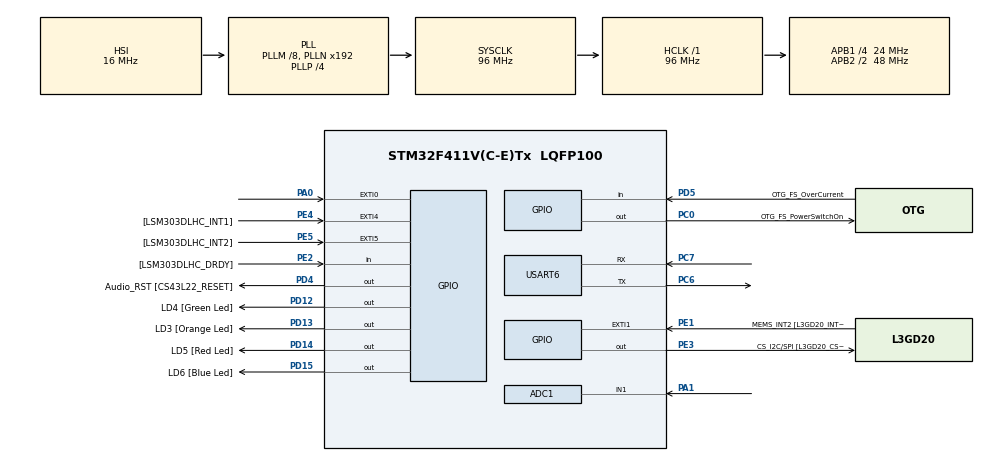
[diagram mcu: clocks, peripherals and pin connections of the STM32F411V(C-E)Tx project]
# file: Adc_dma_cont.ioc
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ADC1.Channel-0\#ChannelRegularConversion=ADC_CHANNEL_1
ADC1.ContinuousConvMode=ENABLE
ADC1.DMAContinuousRequests=ENABLE
ADC1.NbrOfConversionFlag=1
ADC1.Rank-0\#ChannelRegularConversion=1
ADC1.Resolution=ADC_RESOLUTION8b
ADC1.SamplingTime-0\#ChannelRegularConversion=ADC_SAMPLETIME_480CYCLES
ADC1.master=1
Dma.ADC1.0.Channel=DMA_CHANNEL_0
Dma.ADC1.0.Direction=DMA_PERIPH_TO_MEMORY
Dma.ADC1.0.FIFOMode=DMA_FIFOMODE_DISABLE
Dma.ADC1.0.Instance=DMA2_Stream0
Dma.ADC1.0.MemDataAlignment=DMA_MDATAALIGN_BYTE
Dma.ADC1.0.MemInc=DMA_MINC_ENABLE
Dma.ADC1.0.Mode=DMA_CIRCULAR
Dma.ADC1.0.PeriphDataAlignment=DMA_PDATAALIGN_BYTE
Dma.ADC1.0.PeriphInc=DMA_PINC_DISABLE
Dma.ADC1.0.Priority=DMA_PRIORITY_HIGH
Dma.Request0=ADC1
Mcu.Family=STM32F4
Mcu.Name=STM32F411V(C-E)Tx
Mcu.Package=LQFP100
NVIC.ADC_IRQn=true\:0\:0\:false
NVIC.DMA2_Stream0_IRQn=true\:0\:0\:false
NVIC.PriorityGroup=NVIC_PRIORITYGROUP_0
PA0-WKUP.GPIO_ModeDefaultEXTI=GPIO_MODE_EVT_RISING
PA0-WKUP.Signal=GPXTI0
PA1.Signal=ADCx_IN1
PA10.GPIO_Label=OTG_FS_ID
PA10.Signal=USB_OTG_FS_ID
PA11.GPIO_Label=OTG_FS_DM
PA11.Signal=USB_OTG_FS_DM
PA12.GPIO_Label=OTG_FS_DP
PA12.Signal=USB_OTG_FS_DP
PA13.GPIO_Label=SWDIO
PA13.Signal=SYS_JTMS-SWDIO
PA14.GPIO_Label=SWCLK
PA14.Signal=SYS_JTCK-SWCLK
PA4.GPIO_Label=I2S3_WS [CS43L22_LRCK]
PA4.GPIO_Mode=GPIO_MODE_AF_PP
PA4.GPIO_PuPd=GPIO_NOPULL
PA4.GPIO_Speed=GPIO_SPEED_LOW
PA4.Signal=I2S3_WS
PA5.GPIO_Label=SPI1_SCK [L3GD20_SC/SPC]
PA5.Signal=SPI1_SCK
PA6.GPIO_Label=SPI1_MISO [L3GD20_AS0/SDO]
PA6.Signal=SPI1_MISO
PA7.GPIO_Label=SPI1_MOSI [L3GD20_SDA/SDI/SDO]
PA7.Signal=SPI1_MOSI
PA9.GPIO_Label=VBUS_FS
PA9.Signal=USB_OTG_FS_VBUS
PB10.GPIO_Label=CLK_IN [MP45DT02_CLK]
PB10.Signal=I2S2_CK
PB12.Signal=I2S2_WS
PB3.GPIO_Label=SWO
PB3.Signal=SYS_JTDO-SWO
PB6.GPIO_Label=Audio_SCL [CS43L22_SCL]
PB6.GPIO_Mode=GPIO_MODE_AF_OD
PB6.GPIO_PuPd=GPIO_NOPULL
PB6.GPIO_Speed=GPIO_SPEED_LOW
PB6.Signal=I2C1_SCL
PB9.GPIO_Label=Audio_SDA [CS43L22_SDA]
PB9.GPIO_Mode=GPIO_MODE_AF_OD
PB9.GPIO_PuPd=GPIO_NOPULL
PB9.GPIO_Speed=GPIO_SPEED_LOW
PB9.Signal=I2C1_SDA
PC0.GPIO_Label=OTG_FS_PowerSwitchOn
PC0.Signal=GPIO_Output
PC10.GPIO_Label=I2S3_SCK [CS43L22_SCLK]
PC10.GPIO_Mode=GPIO_MODE_AF_PP
PC10.GPIO_PuPd=GPIO_NOPULL
PC10.GPIO_Speed=GPIO_SPEED_LOW
PC10.Signal=I2S3_CK
PC12.GPIO_Label=I2S3_SD [CS43L22_SDIN]
PC12.GPIO_Mode=GPIO_MODE_AF_PP
PC12.GPIO_PuPd=GPIO_NOPULL
PC12.GPIO_Speed=GPIO_SPEED_LOW
PC12.Signal=I2S3_SD
PC14-OSC32_IN.GPIO_Label=PC14-OSC32_IN
PC14-OSC32_IN.Signal=RCC_OSC32_IN
PC15-OSC32_OUT.GPIO_Label=PC15-OSC32_OUT
PC15-OSC32_OUT.Signal=RCC_OSC32_OUT
PC3.GPIO_Label=PDM_OUT [MP45DT02_DOUT]
PC3.Signal=I2S2_SD
PC6.Mode=Asynchronous
PC6.Signal=USART6_TX
PC7.Mode=Asynchronous
PC7.Signal=USART6_RX
PD12.GPIO_Label=LD4 [Green Led]
PD12.GPIO_PuPd=GPIO_NOPULL
PD12.GPIO_Speed=GPIO_SPEED_LOW
PD12.Signal=GPIO_Output
PD13.GPIO_Label=LD3 [Orange Led]
PD13.GPIO_PuPd=GPIO_NOPULL
PD13.GPIO_Speed=GPIO_SPEED_LOW
PD13.Signal=GPIO_Output
PD14.GPIO_Label=LD5 [Red Led]
PD14.GPIO_PuPd=GPIO_NOPULL
PD14.GPIO_Speed=GPIO_SPEED_LOW
PD14.Signal=GPIO_Output
PD15.GPIO_Label=LD6 [Blue Led]
PD15.GPIO_PuPd=GPIO_NOPULL
PD15.GPIO_Speed=GPIO_SPEED_LOW
PD15.Signal=GPIO_Output
PD4.GPIO_Label=Audio_RST [CS43L22_RESET]
PD4.Signal=GPIO_Output
PD5.GPIO_Label=OTG_FS_OverCurrent
PD5.Signal=GPIO_Input
PE1.GPIO_Label=MEMS_INT2 [L3GD20_INT2]
PE1.GPIO_ModeDefaultEXTI=GPIO_MODE_EVT_RISING
PE1.Signal=GPXTI1
PE2.GPIO_Label=[LSM303DLHC_DRDY]
PE2.Signal=GPIO_Input
PE3.GPIO_Label=CS_I2C/SPI [L3GD20_CS_I2C/SPI]
PE3.Signal=GPIO_Output
PE4.GPIO_Label=[LSM303DLHC_INT1]
PE4.GPIO_ModeDefaultEXTI=GPIO_MODE_EVT_RISING
PE4.Signal=GPXTI4
PE5.GPIO_Label=[LSM303DLHC_INT2]
PE5.GPIO_ModeDefaultEXTI=GPIO_MODE_EVT_RISING
PE5.Signal=GPXTI5
PH0\ -\ OSC_IN.GPIO_Label=PH0-OSC_IN
PH0\ -\ OSC_IN.Signal=RCC_OSC_IN
PH1\ -\ OSC_OUT.GPIO_Label=PH1-OSC_OUT
PH1\ -\ OSC_OUT.Signal=RCC_OSC_OUT
ProjectManager.HeapSize=0x400
ProjectManager.StackSize=0x200
ProjectManager.TargetToolchain=TrueSTUDIO
RCC.48MHZClocksFreq_Value=48000000
RCC.AHBFreq_Value=96000000
RCC.APB1CLKDivider=RCC_HCLK_DIV4
RCC.APB1Freq_Value=24000000
RCC.APB1TimFreq_Value=48000000
RCC.APB2CLKDivider=RCC_HCLK_DIV2
RCC.APB2Freq_Value=48000000
RCC.APB2TimFreq_Value=96000000
RCC.CortexFreq_Value=96000000
RCC.HCLKFreq_Value=96000000
RCC.HSE_VALUE=8000000
RCC.HSI_VALUE=16000000
RCC.LSE_VALUE=32768
RCC.PLLI2SM=5
RCC.PLLI2SN=200
RCC.PLLM=8
RCC.PLLP=RCC_PLLP_DIV4
RCC.PLLQ=8
RCC.SYSCLKFreq_VALUE=96000000
RCC.SYSCLKSource=RCC_SYSCLKSOURCE_PLLCLK
RCC.VCOOutputFreq_Value=384000000
SH.ADCx_IN1.0=ADC1_IN1,IN1
TIM2.Prescaler=48
VP_TIM2_VS_ClockSourceINT.Mode=Internal
board=STM32F411E-DISCO

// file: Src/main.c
/**
  ******************************************************************************
  * File Name          : main.c
  * Description        : Main program body
  ******************************************************************************
  *
  * COPYRIGHT(c) 2016 STMicroelectronics
  *
  * Redistribution and use in source and binary forms, with or without modification,
  * are permitted provided that the following conditions are met:
  *   1. Redistributions of source code must retain the above copyright notice,
  *      this list of conditions and the following disclaimer.
  *   2. Redistributions in binary form must reproduce the above copyright notice,
  *      this list of conditions and the following disclaimer in the documentation
  *      and/or other materials provided with the distribution.
  *   3. Neither the name of STMicroelectronics nor the names of its contributors
  *      may be used to endorse or promote products derived from this software
  *      without specific prior written permission.
  *
  * THIS SOFTWARE IS PROVIDED BY THE COPYRIGHT HOLDERS AND CONTRIBUTORS "AS IS"
  * AND ANY EXPRESS OR IMPLIED WARRANTIES, INCLUDING, BUT NOT LIMITED TO, THE
  * IMPLIED WARRANTIES OF MERCHANTABILITY AND FITNESS FOR A PARTICULAR PURPOSE ARE
  * DISCLAIMED. IN NO EVENT SHALL THE COPYRIGHT HOLDER OR CONTRIBUTORS BE LIABLE
  * FOR ANY DIRECT, INDIRECT, INCIDENTAL, SPECIAL, EXEMPLARY, OR CONSEQUENTIAL
  * DAMAGES (INCLUDING, BUT NOT LIMITED TO, PROCUREMENT OF SUBSTITUTE GOODS OR
  * SERVICES; LOSS OF USE, DATA, OR PROFITS; OR BUSINESS INTERRUPTION) HOWEVER
  * CAUSED AND ON ANY THEORY OF LIABILITY, WHETHER IN CONTRACT, STRICT LIABILITY,
  * OR TORT (INCLUDING NEGLIGENCE OR OTHERWISE) ARISING IN ANY WAY OUT OF THE USE
  * OF THIS SOFTWARE, EVEN IF ADVISED OF THE POSSIBILITY OF SUCH DAMAGE.
  *
  ******************************************************************************
  */
#include "stm32f4xx_hal.h"

/* USER CODE BEGIN Includes */
#include <string.h>
#include <stdio.h>
/* USER CODE END Includes */

ADC_HandleTypeDef hadc1;
DMA_HandleTypeDef hdma_adc1;

TIM_HandleTypeDef htim2;

UART_HandleTypeDef huart6;

/* USER CODE BEGIN PV */
/* Private variables ---------------------------------------------------------*/
#define ADC_BUFFER_LENGTH 300
uint32_t ADCBuffer[ADC_BUFFER_LENGTH]={0};
/* USER CODE END PV */

void SystemClock_Config(void);
static void MX_GPIO_Init(void);
static void MX_DMA_Init(void);
static void MX_ADC1_Init(void);
static void MX_TIM2_Init(void);
static void MX_USART6_UART_Init(void);

/* USER CODE BEGIN PFP */
/* Private function prototypes -----------------------------------------------*/

/* USER CODE END PFP */

/* USER CODE BEGIN 0 */
void Uart_transmit(uint32_t dma_buffer[])
{
	int i = 0;
	int count = 0;
	char buffer[50] = {"Empty.."};
	uint32_t achtbit = 255;
	for(i=0; i<ADC_BUFFER_LENGTH;i++)
	{
		  if(count != 11)
		  {

			  dma_buffer[i] &= achtbit;
			  sprintf(buffer,"slot: %3d   ",(int) dma_buffer[i]);
			  HAL_UART_Transmit(&huart6,(uint8_t*) buffer,strlen(buffer),HAL_MAX_DELAY);
			  count++;
		  }
		  else
		  {
				sprintf(buffer,"\r\n");
				HAL_UART_Transmit(&huart6,(uint8_t*) buffer,strlen(buffer),HAL_MAX_DELAY);
				count = 0;
		  }
	}
	HAL_UART_Transmit(&huart6,"\r\n",strlen("\r\n"),HAL_MAX_DELAY);
}
//void HAL_ADC_ConvCpltCallback(ADC_HandleTypeDef* AdcHandle)
//{
//	HAL_GPIO_TogglePin(GPIOD,LD6_Pin);
//}
/* USER CODE END 0 */

int main(void)
{

  /* USER CODE BEGIN 1 */
	int count = 0;
	//uint32_t dma_buffer[100] = {0};
	//uint32_t count = 0;
	//int ADCValue = 0;
	//int MeasurementNumber = 0;
  /* USER CODE END 1 */

  /* MCU Configuration----------------------------------------------------------*/

  /* Reset of all peripherals, Initializes the Flash interface and the Systick. */
  HAL_Init();

  /* Configure the system clock */
  SystemClock_Config();

  /* Initialize all configured peripherals */
  MX_GPIO_Init();
  MX_DMA_Init();
  MX_ADC1_Init();
  MX_TIM2_Init();
  MX_USART6_UART_Init();

  /* Infinite loop */
  while (1)
  {

  /* USER CODE BEGIN 3 */
	  HAL_ADC_Start(&hadc1);
	  HAL_ADC_Start_DMA(&hadc1, &ADCBuffer[0], ADC_BUFFER_LENGTH*4);
	  if(count == 1)HAL_GPIO_TogglePin(GPIOD,GPIO_PIN_15); count = 0;
	  count++;
	  if(HAL_GPIO_ReadPin(GPIOA,GPIO_PIN_0))
	  {
		  //uint32_t count = __HAL_TIM_GetCounter(&htim2);
		  //HAL_TIM_Base_Start(&htim2);
		  HAL_Delay(500);
		  HAL_GPIO_TogglePin(GPIOD,GPIO_PIN_13);
		  Uart_transmit(ADCBuffer);
		  //ADCBuffer[ADC_BUFFER_LENGTH -1]=0;
	  }
  }
  /* USER CODE END 3 */

}

/** System Clock Configuration
*/
void SystemClock_Config(void)
{

  RCC_OscInitTypeDef RCC_OscInitStruct;
  RCC_ClkInitTypeDef RCC_ClkInitStruct;

  __PWR_CLK_ENABLE();

  __HAL_PWR_VOLTAGESCALING_CONFIG(PWR_REGULATOR_VOLTAGE_SCALE1);

  RCC_OscInitStruct.OscillatorType = RCC_OSCILLATORTYPE_HSI;
  RCC_OscInitStruct.HSIState = RCC_HSI_ON;
  RCC_OscInitStruct.HSICalibrationValue = 16;
  RCC_OscInitStruct.PLL.PLLState = RCC_PLL_ON;
  RCC_OscInitStruct.PLL.PLLSource = RCC_PLLSOURCE_HSI;
  RCC_OscInitStruct.PLL.PLLM = 8;
  RCC_OscInitStruct.PLL.PLLN = 192;
  RCC_OscInitStruct.PLL.PLLP = RCC_PLLP_DIV4;
  RCC_OscInitStruct.PLL.PLLQ = 8;
  HAL_RCC_OscConfig(&RCC_OscInitStruct);

  RCC_ClkInitStruct.ClockType = RCC_CLOCKTYPE_HCLK|RCC_CLOCKTYPE_SYSCLK
                              |RCC_CLOCKTYPE_PCLK1|RCC_CLOCKTYPE_PCLK2;
  RCC_ClkInitStruct.SYSCLKSource = RCC_SYSCLKSOURCE_PLLCLK;
  RCC_ClkInitStruct.AHBCLKDivider = RCC_SYSCLK_DIV1;
  RCC_ClkInitStruct.APB1CLKDivider = RCC_HCLK_DIV4;
  RCC_ClkInitStruct.APB2CLKDivider = RCC_HCLK_DIV2;
  HAL_RCC_ClockConfig(&RCC_ClkInitStruct, FLASH_LATENCY_3);

  HAL_SYSTICK_Config(HAL_RCC_GetHCLKFreq()/1000);

  HAL_SYSTICK_CLKSourceConfig(SYSTICK_CLKSOURCE_HCLK);

  /* SysTick_IRQn interrupt configuration */
  HAL_NVIC_SetPriority(SysTick_IRQn, 0, 0);
}

/* ADC1 init function */
void MX_ADC1_Init(void)
{

  ADC_ChannelConfTypeDef sConfig;

    /**Configure the global features of the ADC (Clock, Resolution, Data Alignment and number of conversion)
    */
  hadc1.Instance = ADC1;
  hadc1.Init.ClockPrescaler = ADC_CLOCKPRESCALER_PCLK_DIV2;
  hadc1.Init.Resolution = ADC_RESOLUTION8b;
  hadc1.Init.ScanConvMode = DISABLE;
  hadc1.Init.ContinuousConvMode = ENABLE;
  hadc1.Init.DiscontinuousConvMode = DISABLE;
  hadc1.Init.ExternalTrigConvEdge = ADC_EXTERNALTRIGCONVEDGE_NONE;
  hadc1.Init.DataAlign = ADC_DATAALIGN_RIGHT;
  hadc1.Init.NbrOfConversion = 1;
  hadc1.Init.DMAContinuousRequests = ENABLE;
  hadc1.Init.EOCSelection = EOC_SINGLE_CONV;
  HAL_ADC_Init(&hadc1);

    /**Configure for the selected ADC regular channel its corresponding rank in the sequencer and its sample time.
    */
  sConfig.Channel = ADC_CHANNEL_1;
  sConfig.Rank = 1;
  sConfig.SamplingTime = ADC_SAMPLETIME_480CYCLES;
  HAL_ADC_ConfigChannel(&hadc1, &sConfig);

}

/* TIM2 init function */
void MX_TIM2_Init(void)
{

  TIM_ClockConfigTypeDef sClockSourceConfig;
  TIM_MasterConfigTypeDef sMasterConfig;

  htim2.Instance = TIM2;
  htim2.Init.Prescaler = 48;
  htim2.Init.CounterMode = TIM_COUNTERMODE_UP;
  htim2.Init.Period = 0;
  htim2.Init.ClockDivision = TIM_CLOCKDIVISION_DIV1;
  HAL_TIM_Base_Init(&htim2);

  sClockSourceConfig.ClockSource = TIM_CLOCKSOURCE_INTERNAL;
  HAL_TIM_ConfigClockSource(&htim2, &sClockSourceConfig);

  sMasterConfig.MasterOutputTrigger = TIM_TRGO_RESET;
  sMasterConfig.MasterSlaveMode = TIM_MASTERSLAVEMODE_DISABLE;
  HAL_TIMEx_MasterConfigSynchronization(&htim2, &sMasterConfig);

}

/* USART6 init function */
void MX_USART6_UART_Init(void)
{

  huart6.Instance = USART6;
  huart6.Init.BaudRate = 115200;
  huart6.Init.WordLength = UART_WORDLENGTH_8B;
  huart6.Init.StopBits = UART_STOPBITS_1;
  huart6.Init.Parity = UART_PARITY_NONE;
  huart6.Init.Mode = UART_MODE_TX_RX;
  huart6.Init.HwFlowCtl = UART_HWCONTROL_NONE;
  huart6.Init.OverSampling = UART_OVERSAMPLING_16;
  HAL_UART_Init(&huart6);

}

void MX_DMA_Init(void)
{
  /* DMA controller clock enable */
  __DMA2_CLK_ENABLE();

  /* DMA interrupt init */
  HAL_NVIC_SetPriority(DMA2_Stream0_IRQn, 0, 0);
  HAL_NVIC_EnableIRQ(DMA2_Stream0_IRQn);

}

/** Configure pins as
        * Analog
        * Input
        * Output
        * EVENT_OUT
        * EXTI
     PC3   ------> I2S2_SD
     PA4   ------> I2S3_WS
     PA5   ------> SPI1_SCK
     PA6   ------> SPI1_MISO
     PA7   ------> SPI1_MOSI
     PB10   ------> I2S2_CK
     PB12   ------> I2S2_WS
     PA9   ------> USB_OTG_FS_VBUS
     PA10   ------> USB_OTG_FS_ID
     PA11   ------> USB_OTG_FS_DM
     PA12   ------> USB_OTG_FS_DP
     PC10   ------> I2S3_CK
     PC12   ------> I2S3_SD
     PB6   ------> I2C1_SCL
     PB9   ------> I2C1_SDA
*/
void MX_GPIO_Init(void)
{

  GPIO_InitTypeDef GPIO_InitStruct;

  /* GPIO Ports Clock Enable */
  __GPIOE_CLK_ENABLE();
  __GPIOC_CLK_ENABLE();
  __GPIOH_CLK_ENABLE();
  __GPIOA_CLK_ENABLE();
  __GPIOB_CLK_ENABLE();
  __GPIOD_CLK_ENABLE();

  /*Configure GPIO pin : PE2 */
  GPIO_InitStruct.Pin = GPIO_PIN_2;
  GPIO_InitStruct.Mode = GPIO_MODE_INPUT;
  GPIO_InitStruct.Pull = GPIO_NOPULL;
  HAL_GPIO_Init(GPIOE, &GPIO_InitStruct);

  /*Configure GPIO pin : CS_I2C_SPI_Pin */
  GPIO_InitStruct.Pin = CS_I2C_SPI_Pin;
  GPIO_InitStruct.Mode = GPIO_MODE_OUTPUT_PP;
  GPIO_InitStruct.Pull = GPIO_NOPULL;
  GPIO_InitStruct.Speed = GPIO_SPEED_LOW;
  HAL_GPIO_Init(CS_I2C_SPI_GPIO_Port, &GPIO_InitStruct);

  /*Configure GPIO pins : PE4 PE5 MEMS_INT2_Pin */
  GPIO_InitStruct.Pin = GPIO_PIN_4|GPIO_PIN_5|MEMS_INT2_Pin;
  GPIO_InitStruct.Mode = GPIO_MODE_EVT_RISING;
  GPIO_InitStruct.Pull = GPIO_NOPULL;
  HAL_GPIO_Init(GPIOE, &GPIO_InitStruct);

  /*Configure GPIO pin : OTG_FS_PowerSwitchOn_Pin */
  GPIO_InitStruct.Pin = OTG_FS_PowerSwitchOn_Pin;
  GPIO_InitStruct.Mode = GPIO_MODE_OUTPUT_PP;
  GPIO_InitStruct.Pull = GPIO_NOPULL;
  GPIO_InitStruct.Speed = GPIO_SPEED_LOW;
  HAL_GPIO_Init(OTG_FS_PowerSwitchOn_GPIO_Port, &GPIO_InitStruct);

  /*Configure GPIO pin : PDM_OUT_Pin */
  GPIO_InitStruct.Pin = PDM_OUT_Pin;
  GPIO_InitStruct.Mode = GPIO_MODE_AF_PP;
  GPIO_InitStruct.Pull = GPIO_NOPULL;
  GPIO_InitStruct.Speed = GPIO_SPEED_LOW;
  GPIO_InitStruct.Alternate = GPIO_AF5_SPI2;
  HAL_GPIO_Init(PDM_OUT_GPIO_Port, &GPIO_InitStruct);

  /*Configure GPIO pin : PA0 */
  GPIO_InitStruct.Pin = GPIO_PIN_0;
  GPIO_InitStruct.Mode = GPIO_MODE_EVT_RISING;
  GPIO_InitStruct.Pull = GPIO_NOPULL;
  HAL_GPIO_Init(GPIOA, &GPIO_InitStruct);

  /*Configure GPIO pin : PA4 */
  GPIO_InitStruct.Pin = GPIO_PIN_4;
  GPIO_InitStruct.Mode = GPIO_MODE_AF_PP;
  GPIO_InitStruct.Pull = GPIO_NOPULL;
  GPIO_InitStruct.Speed = GPIO_SPEED_LOW;
  GPIO_InitStruct.Alternate = GPIO_AF6_SPI3;
  HAL_GPIO_Init(GPIOA, &GPIO_InitStruct);

  /*Configure GPIO pins : PA5 PA6 PA7 */
  GPIO_InitStruct.Pin = GPIO_PIN_5|GPIO_PIN_6|GPIO_PIN_7;
  GPIO_InitStruct.Mode = GPIO_MODE_AF_PP;
  GPIO_InitStruct.Pull = GPIO_NOPULL;
  GPIO_InitStruct.Speed = GPIO_SPEED_HIGH;
  GPIO_InitStruct.Alternate = GPIO_AF5_SPI1;
  HAL_GPIO_Init(GPIOA, &GPIO_InitStruct);

  /*Configure GPIO pins : CLK_IN_Pin PB12 */
  GPIO_InitStruct.Pin = CLK_IN_Pin|GPIO_PIN_12;
  GPIO_InitStruct.Mode = GPIO_MODE_AF_PP;
  GPIO_InitStruct.Pull = GPIO_NOPULL;
  GPIO_InitStruct.Speed = GPIO_SPEED_LOW;
  GPIO_InitStruct.Alternate = GPIO_AF5_SPI2;
  HAL_GPIO_Init(GPIOB, &GPIO_InitStruct);

  /*Configure GPIO pins : LD4_Pin LD3_Pin LD5_Pin LD6_Pin
                           Audio_RST_Pin */
  GPIO_InitStruct.Pin = LD4_Pin|LD3_Pin|LD5_Pin|LD6_Pin
                          |Audio_RST_Pin;
  GPIO_InitStruct.Mode = GPIO_MODE_OUTPUT_PP;
  GPIO_InitStruct.Pull = GPIO_NOPULL;
  GPIO_InitStruct.Speed = GPIO_SPEED_LOW;
  HAL_GPIO_Init(GPIOD, &GPIO_InitStruct);

  /*Configure GPIO pin : VBUS_FS_Pin */
  GPIO_InitStruct.Pin = VBUS_FS_Pin;
  GPIO_InitStruct.Mode = GPIO_MODE_INPUT;
  GPIO_InitStruct.Pull = GPIO_NOPULL;
  HAL_GPIO_Init(VBUS_FS_GPIO_Port, &GPIO_InitStruct);

  /*Configure GPIO pins : OTG_FS_ID_Pin OTG_FS_DM_Pin OTG_FS_DP_Pin */
  GPIO_InitStruct.Pin = OTG_FS_ID_Pin|OTG_FS_DM_Pin|OTG_FS_DP_Pin;
  GPIO_InitStruct.Mode = GPIO_MODE_AF_PP;
  GPIO_InitStruct.Pull = GPIO_NOPULL;
  GPIO_InitStruct.Speed = GPIO_SPEED_HIGH;
  GPIO_InitStruct.Alternate = GPIO_AF10_OTG_FS;
  HAL_GPIO_Init(GPIOA, &GPIO_InitStruct);

  /*Configure GPIO pins : I2S3_SCK_Pin PC12 */
  GPIO_InitStruct.Pin = I2S3_SCK_Pin|GPIO_PIN_12;
  GPIO_InitStruct.Mode = GPIO_MODE_AF_PP;
  GPIO_InitStruct.Pull = GPIO_NOPULL;
  GPIO_InitStruct.Speed = GPIO_SPEED_LOW;
  GPIO_InitStruct.Alternate = GPIO_AF6_SPI3;
  HAL_GPIO_Init(GPIOC, &GPIO_InitStruct);

  /*Configure GPIO pin : OTG_FS_OverCurrent_Pin */
  GPIO_InitStruct.Pin = OTG_FS_OverCurrent_Pin;
  GPIO_InitStruct.Mode = GPIO_MODE_INPUT;
  GPIO_InitStruct.Pull = GPIO_NOPULL;
  HAL_GPIO_Init(OTG_FS_OverCurrent_GPIO_Port, &GPIO_InitStruct);

  /*Configure GPIO pins : Audio_SCL_Pin Audio_SDA_Pin */
  GPIO_InitStruct.Pin = Audio_SCL_Pin|Audio_SDA_Pin;
  GPIO_InitStruct.Mode = GPIO_MODE_AF_OD;
  GPIO_InitStruct.Pull = GPIO_PULLUP;
  GPIO_InitStruct.Speed = GPIO_SPEED_LOW;
  GPIO_InitStruct.Alternate = GPIO_AF4_I2C1;
  HAL_GPIO_Init(GPIOB, &GPIO_InitStruct);

  /*Configure GPIO pin Output Level */
  HAL_GPIO_WritePin(CS_I2C_SPI_GPIO_Port, CS_I2C_SPI_Pin, GPIO_PIN_RESET);

  /*Configure GPIO pin Output Level */
  HAL_GPIO_WritePin(OTG_FS_PowerSwitchOn_GPIO_Port, OTG_FS_PowerSwitchOn_Pin, GPIO_PIN_RESET);

  /*Configure GPIO pin Output Level */
  HAL_GPIO_WritePin(GPIOD, LD4_Pin|LD3_Pin|LD5_Pin|LD6_Pin
                          |Audio_RST_Pin, GPIO_PIN_RESET);

}

/************************ (C) COPYRIGHT STMicroelectronics *****END OF FILE****/
